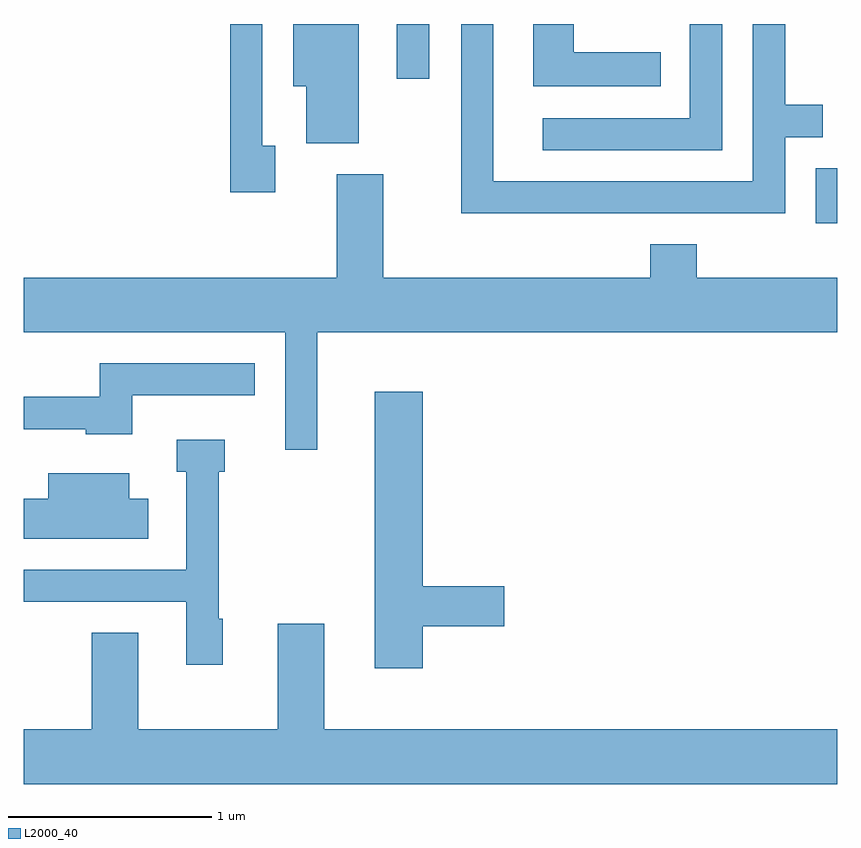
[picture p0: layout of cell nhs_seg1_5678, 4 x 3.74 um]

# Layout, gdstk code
import gdstk
lib = gdstk.Library(unit=1e-6, precision=1e-09)
def R(c, l, rs):  # rectangles x0, y0, x1, y1
    for r in rs: c.add(gdstk.rectangle(r[:2], r[2:], *l))
def P(c, l, *ps):  # polygons
    for p in ps: c.add(gdstk.Polygon(p, *l))
L2000_40 = (2000, 40)

nhs_seg1_5678 = lib.new_cell('nhs_seg1_5678')
R(nhs_seg1_5678, L2000_40, [(359.506,946.733,359.611,947.004), (357.446,947.443,357.604,947.712)])
P(nhs_seg1_5678, L2000_40, [(359.354,947.156),(359.538,947.156),(359.538,947.314),(359.354,947.314),(359.354,947.712),(359.196,947.712),(359.196,946.939),(357.919,946.939),(357.919,947.712),(357.761,947.712),(357.761,946.781),(359.354,946.781)],
  [(359.044,947.712),(358.886,947.712),(358.886,947.249),(358.163,947.249),(358.163,947.091),(359.044,947.091)],
  [(358.743,947.574),(358.314,947.574),(358.314,947.712),(358.116,947.712),(358.116,947.406),(358.743,947.406)],
  [(356.849,947.114),(356.784,947.114),(356.784,947.712),(356.626,947.712),(356.626,946.886),(356.849,946.886)],
  [(357.259,947.712),(356.936,947.712),(356.936,947.406),(357.001,947.406),(357.001,947.126),(357.259,947.126)],
  [(357.054,946.196),(359.611,946.196),(359.611,946.464),(358.919,946.464),(358.919,946.629),(358.691,946.629),(358.691,946.464),(357.379,946.464),(357.379,946.974),(357.151,946.974),(357.151,946.464),(355.611,946.464),(355.611,946.196),(356.896,946.196),(356.896,945.618),(357.054,945.618)],
  [(356.144,945.886),(356.748,945.886),(356.748,946.044),(355.986,946.044),(355.986,945.879),(355.611,945.879),(355.611,945.721),(355.916,945.721),(355.916,945.696),(356.144,945.696)],
  [(357.574,944.751),(357.974,944.751),(357.974,944.949),(357.574,944.949),(357.574,945.904),(357.336,945.904),(357.336,944.546),(357.574,944.546)],
  [(356.589,944.789),(356.569,944.789),(356.569,945.511),(356.599,945.511),(356.599,945.669),(356.363,945.669),(356.363,945.511),(356.411,945.511),(356.411,945.029),(355.611,945.029),(355.611,944.871),(356.411,944.871),(356.411,944.561),(356.589,944.561)],
  [(356.224,945.379),(356.129,945.379),(356.129,945.504),(355.731,945.504),(355.731,945.379),(355.611,945.379),(355.611,945.181),(356.224,945.181)],
  [(359.611,944.244),(357.089,944.244),(357.089,944.764),(356.861,944.764),(356.861,944.244),(356.174,944.244),(356.174,944.719),(355.946,944.719),(355.946,944.244),(355.611,944.244),(355.611,943.976),(359.611,943.976)])

lib.write_gds('nhs_seg1_5678.gds')
